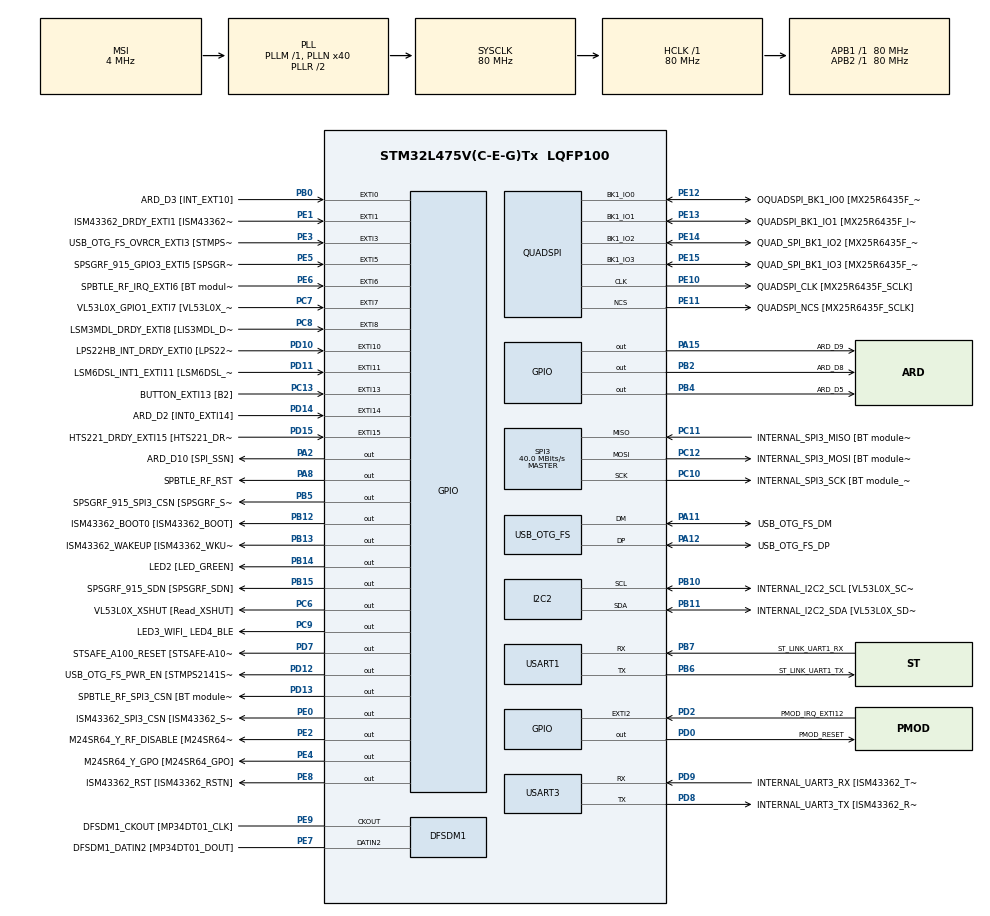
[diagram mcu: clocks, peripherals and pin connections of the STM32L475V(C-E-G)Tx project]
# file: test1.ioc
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Mcu.Family=STM32L4
Mcu.Name=STM32L475V(C-E-G)Tx
Mcu.Package=LQFP100
NVIC.EXTI15_10_IRQn=true\:0\:0\:false\:false\:true\:true\:true
NVIC.EXTI9_5_IRQn=true\:0\:0\:false\:false\:true\:true\:true
NVIC.PriorityGroup=NVIC_PRIORITYGROUP_4
PA0.GPIO_Label=ARD_D1 [UART4_TX]
PA0.Signal=UART4_TX
PA1.GPIO_Label=ARD_D0 [UART4_RX]
PA1.Signal=UART4_RX
PA10.GPIO_Label=USB_OTG_FS_ID
PA10.Signal=USB_OTG_FS_ID
PA11.GPIO_Label=USB_OTG_FS_DM
PA11.Mode=Device_Only
PA11.Signal=USB_OTG_FS_DM
PA12.GPIO_Label=USB_OTG_FS_DP
PA12.Mode=Device_Only
PA12.Signal=USB_OTG_FS_DP
PA13\ (JTMS-SWDIO).GPIO_Label=SYS_JTMS_SWDIO
PA13\ (JTMS-SWDIO).Mode=Serial_Wire
PA13\ (JTMS-SWDIO).Signal=SYS_JTMS-SWDIO
PA14\ (JTCK-SWCLK).GPIO_Label=SYS_JTCK_SWCLK
PA14\ (JTCK-SWCLK).Mode=Serial_Wire
PA14\ (JTCK-SWCLK).Signal=SYS_JTCK-SWCLK
PA15\ (JTDI).GPIO_Label=ARD_D9
PA15\ (JTDI).Signal=GPIO_Output
PA2.GPIO_Label=ARD_D10 [SPI_SSN]
PA2.Signal=GPIO_Output
PA3.GPIO_Label=ARD_D4
PA3.Signal=S_TIM2_CH4
PA4.GPIO_Label=ARD_D7
PA4.Signal=ADCx_IN9
PA5.GPIO_Label=ARD_D13 [SPI1_SCK]
PA5.Signal=SPI1_SCK
PA6.GPIO_Label=ARD_D12 [SPI1_MISO]
PA6.Signal=SPI1_MISO
PA7.GPIO_Label=ARD_D11 [SPI1_MOSI]
PA7.Signal=SPI1_MOSI
PA8.GPIO_Label=SPBTLE_RF_RST
PA8.Signal=GPIO_Output
PA9.GPIO_Label=USB_OTG_FS_VBUS [STMPS2141STR_OUT]
PA9.Signal=USB_OTG_FS_VBUS
PB0.GPIO_Label=ARD_D3 [INT_EXT10]
PB0.Signal=GPXTI0
PB1.GPIO_Label=ARD_D6 [ADC1_IN6]
PB1.Signal=ADCx_IN16
PB10.GPIO_Label=INTERNAL_I2C2_SCL [VL53L0X_SCL]
PB10.Mode=I2C
PB10.Signal=I2C2_SCL
PB11.GPIO_Label=INTERNAL_I2C2_SDA [VL53L0X_SDA]
PB11.Mode=I2C
PB11.Signal=I2C2_SDA
PB12.GPIO_Label=ISM43362_BOOT0 [ISM43362_BOOT]
PB12.Signal=GPIO_Output
PB13.GPIO_Label=ISM43362_WAKEUP [ISM43362_WKUP]
PB13.Signal=GPIO_Output
PB14.GPIO_Label=LED2 [LED_GREEN]
PB14.Signal=GPIO_Output
PB15.GPIO_Label=SPSGRF_915_SDN [SPSGRF_SDN]
PB15.Signal=GPIO_Output
PB2.GPIO_Label=ARD_D8
PB2.Signal=GPIO_Output
PB3\ (JTDO-TRACESWO).GPIO_Label=SYS_JTD0_SWO
PB3\ (JTDO-TRACESWO).Signal=SYS_JTDO-SWO
PB4\ (NJTRST).GPIO_Label=ARD_D5
PB4\ (NJTRST).Signal=GPIO_Output
PB5.GPIO_Label=SPSGRF_915_SPI3_CSN [SPSGRF_SPI_CS]
PB5.PinState=GPIO_PIN_SET
PB5.Signal=GPIO_Output
PB6.GPIO_Label=ST_LINK_UART1_TX
PB6.Mode=Asynchronous
PB6.Signal=USART1_TX
PB7.GPIO_Label=ST_LINK_UART1_RX
PB7.Mode=Asynchronous
PB7.Signal=USART1_RX
PB8.GPIO_Label=ARD_D15 [I2C1_SCL]
PB8.Signal=I2C1_SCL
PB9.GPIO_Label=ARD_D14 [I2C1_SDA]
PB9.Signal=I2C1_SDA
PC0.GPIO_Label=ARD_A5 [ADC]
PC0.Signal=ADCx_IN1
PC1.GPIO_Label=ARD_A4 [ADC]
PC1.Signal=ADCx_IN2
PC10.GPIO_Label=INTERNAL_SPI3_SCK [BT module_SPI_SCLK]
PC10.Mode=Full_Duplex_Master
PC10.Signal=SPI3_SCK
PC11.GPIO_Label=INTERNAL_SPI3_MISO [BT module_SPI_MISO]
PC11.Mode=Full_Duplex_Master
PC11.Signal=SPI3_MISO
PC12.GPIO_Label=INTERNAL_SPI3_MOSI [BT module_SPI_MOSI]
PC12.Mode=Full_Duplex_Master
PC12.Signal=SPI3_MOSI
PC13.GPIO_Label=BUTTON_EXTI13 [B2]
PC13.GPIO_ModeDefaultEXTI=GPIO_MODE_IT_FALLING
PC13.Signal=GPXTI13
PC14-OSC32_IN\ (PC14).Mode=LSE-External-Oscillator
PC14-OSC32_IN\ (PC14).Signal=RCC_OSC32_IN
PC15-OSC32_OUT\ (PC15).Mode=LSE-External-Oscillator
PC15-OSC32_OUT\ (PC15).Signal=RCC_OSC32_OUT
PC2.GPIO_Label=ARD_A3 [ADC]
PC2.Signal=ADCx_IN3
PC3.GPIO_Label=ARD_A2 [ADC]
PC3.Signal=ADCx_IN4
PC4.GPIO_Label=ARD_A1 [ADC]
PC4.Signal=ADCx_IN13
PC5.GPIO_Label=ARD_A0 [ADC]
PC5.Signal=ADCx_IN14
PC6.GPIO_Label=VL53L0X_XSHUT [Read_XSHUT]
PC6.Signal=GPIO_Output
PC7.GPIO_Label=VL53L0X_GPIO1_EXTI7 [VL53L0X_GPIO1]
PC7.Signal=GPXTI7
PC8.GPIO_Label=LSM3MDL_DRDY_EXTI8 [LIS3MDL_DRDY]
PC8.Signal=GPXTI8
PC9.GPIO_Label=LED3_WIFI_ LED4_BLE
PC9.Signal=GPIO_Output
PD0.GPIO_Label=PMOD_RESET
PD0.Signal=GPIO_Output
PD1.GPIO_Label=PMOD_SPI2_SCK
PD1.Signal=SPI2_SCK
PD10.GPIO_Label=LPS22HB_INT_DRDY_EXTI0 [LPS22HB_INT_DRDY] 
PD10.Signal=GPXTI10
PD11.GPIO_Label=LSM6DSL_INT1_EXTI11 [LSM6DSL_INT1]
PD11.Signal=GPXTI11
PD12.GPIO_Label=USB_OTG_FS_PWR_EN [STMPS2141STR_EN]
PD12.Signal=GPIO_Output
PD13.GPIO_Label=SPBTLE_RF_SPI3_CSN [BT module_SPI_CS]
PD13.PinState=GPIO_PIN_SET
PD13.Signal=GPIO_Output
PD14.GPIO_Label=ARD_D2 [INT0_EXTI14]
PD14.Signal=GPXTI14
PD15.GPIO_Label=HTS221_DRDY_EXTI15 [HTS221_DRDY]
PD15.Signal=GPXTI15
PD2.GPIO_Label=PMOD_IRQ_EXTI12
PD2.Signal=GPXTI2
PD3.GPIO_Label=PMOD_UART2_CTS
PD3.Signal=USART2_CTS
PD4.GPIO_Label=PMOD_UART2_RTS
PD4.Signal=USART2_RTS
PD5.GPIO_Label=PMOD_UART2_TX
PD5.Signal=USART2_TX
PD6.GPIO_Label=PMOD_UART2_RX
PD6.Signal=USART2_RX
PD7.GPIO_Label=STSAFE_A100_RESET [STSAFE-A100_RESET]
PD7.Signal=GPIO_Output
PD8.GPIO_Label=INTERNAL_UART3_TX [ISM43362_RX]
PD8.Mode=Asynchronous
PD8.Signal=USART3_TX
PD9.GPIO_Label=INTERNAL_UART3_RX [ISM43362_TX]
PD9.Mode=Asynchronous
PD9.Signal=USART3_RX
PE0.GPIO_Label=ISM43362_SPI3_CSN [ISM43362_SSN]
PE0.PinState=GPIO_PIN_SET
PE0.Signal=GPIO_Output
PE1.GPIO_Label=ISM43362_DRDY_EXTI1 [ISM43362_DATARDY]
PE1.Signal=GPXTI1
PE10.GPIO_Label=QUADSPI_CLK [MX25R6435F_SCLK]
PE10.Mode=Single Bank
PE10.Signal=QUADSPI_CLK
PE11.GPIO_Label=QUADSPI_NCS [MX25R6435F_SCLK]
PE11.Mode=Single Bank
PE11.Signal=QUADSPI_NCS
PE12.GPIO_Label=OQUADSPI_BK1_IO0 [MX25R6435F_IO0]
PE12.Mode=Single Bank
PE12.Signal=QUADSPI_BK1_IO0
PE13.GPIO_Label=QUADSPI_BK1_IO1 [MX25R6435F_IO1]
PE13.Mode=Single Bank
PE13.Signal=QUADSPI_BK1_IO1
PE14.GPIO_Label=QUAD_SPI_BK1_IO2 [MX25R6435F_IO2]
PE14.Mode=Single Bank
PE14.Signal=QUADSPI_BK1_IO2
PE15.GPIO_Label=QUAD_SPI_BK1_IO3 [MX25R6435F_IO3]
PE15.Mode=Single Bank
PE15.Signal=QUADSPI_BK1_IO3
PE2.GPIO_Label=M24SR64_Y_RF_DISABLE [M24SR64_RFDIS]
PE2.Signal=GPIO_Output
PE3.GPIO_Label=USB_OTG_FS_OVRCR_EXTI3 [STMPS2141STR_FAULT]
PE3.Signal=GPXTI3
PE4.GPIO_Label=M24SR64_Y_GPO [M24SR64_GPO]
PE4.Signal=GPIO_Output
PE5.GPIO_Label=SPSGRF_915_GPIO3_EXTI5 [SPSGRF_GPIO_3]
PE5.Signal=GPXTI5
PE6.GPIO_Label=SPBTLE_RF_IRQ_EXTI6 [BT module_SPI_IRQ]
PE6.Signal=GPXTI6
PE7.GPIO_Label=DFSDM1_DATIN2 [MP34DT01_DOUT]
PE7.Signal=S_DATAIN2DFSDM1
PE8.GPIO_Label=ISM43362_RST [ISM43362_RSTN]
PE8.Signal=GPIO_Output
PE9.GPIO_Label=DFSDM1_CKOUT [MP34DT01_CLK]
PE9.Signal=S_CKOUTDFSDM1
ProjectManager.HeapSize=0x200
ProjectManager.StackSize=0x400
ProjectManager.TargetToolchain=SW4STM32
RCC.ADCFreq_Value=48000000
RCC.AHBFreq_Value=80000000
RCC.APB1Freq_Value=80000000
RCC.APB1TimFreq_Value=80000000
RCC.APB2Freq_Value=80000000
RCC.APB2TimFreq_Value=80000000
RCC.CortexFreq_Value=80000000
RCC.HCLKFreq_Value=80000000
RCC.HSE_VALUE=8000000
RCC.HSI_VALUE=16000000
RCC.MSI_VALUE=4000000
RCC.PLLN=40
RCC.PLLSAI1N=24
RCC.SYSCLKFreq_VALUE=80000000
RCC.SYSCLKSource=RCC_SYSCLKSOURCE_PLLCLK
RCC.USBFreq_Value=48000000
RCC.VCOOutputFreq_Value=160000000
SH.ADCx_IN1.0=ADC1_IN1
SH.ADCx_IN13.0=ADC1_IN13
SH.ADCx_IN14.0=ADC1_IN14
SH.ADCx_IN16.0=ADC1_IN16
SH.ADCx_IN2.0=ADC1_IN2
SH.ADCx_IN3.0=ADC1_IN3
SH.ADCx_IN4.0=ADC1_IN4
SH.ADCx_IN9.0=ADC1_IN9
SH.S_CKOUTDFSDM1.0=DFSDM1_CKOUT,CKOUT
SH.S_CKOUTDFSDM1.1=DFSDM1_CKOUT,PDM_SPI_Input_from_ch12_and_Internal_Clock
SH.S_DATAIN2DFSDM1.0=DFSDM1_DATIN2,PDM_SPI_Input_from_ch12_and_Internal_Clock
SH.S_TIM2_CH4.0=TIM2_CH4
SPI3.CalculateBaudRate=40.0 MBits/s
SPI3.Direction=SPI_DIRECTION_2LINES
SPI3.Mode=SPI_MODE_MASTER
SPI3.VirtualType=VM_MASTER
USART1.VirtualMode-Asynchronous=VM_ASYNC
USART3.VirtualMode-Asynchronous=VM_ASYNC
USB_OTG_FS.VirtualMode=Device_Only
board=B-L475E-IOT01A1

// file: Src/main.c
/* USER CODE BEGIN Header */
/**
  ******************************************************************************
  * @file           : main.c
  * @brief          : Main program body
  ******************************************************************************
  * @attention
  *
  * <h2><center>&copy; Copyright (c) 2019 STMicroelectronics.

  * All rights reserved.</center></h2>
  *
  * This software component is licensed by ST under BSD 3-Clause license,
  * the "License"; You may not use this file except in compliance with the
  * License. You may obtain a copy of the License at:
  *                        opensource.org/licenses/BSD-3-Clause
  *
  ******************************************************************************
  */
/* USER CODE END Header */

#include "main.h"

/* USER CODE BEGIN Includes */
#include <stdio.h>
#include <stdlib.h>
#include "fann.h"
#include "fann_conf.h"
#include "test_data.h"
/* USER CODE END Includes */

/* USER CODE BEGIN PD */
#define NUM_REPEAT 1003
#define WARM_CACHE 3
/* USER CODE END PD */

DFSDM_Channel_HandleTypeDef hdfsdm1_channel1;

I2C_HandleTypeDef hi2c2;

QSPI_HandleTypeDef hqspi;

SPI_HandleTypeDef hspi3;

UART_HandleTypeDef huart1;
UART_HandleTypeDef huart3;

PCD_HandleTypeDef hpcd_USB_OTG_FS;

void SystemClock_Config(void);
static void MX_GPIO_Init(void);
static void MX_DFSDM1_Init(void);
static void MX_I2C2_Init(void);
static void MX_QUADSPI_Init(void);
static void MX_SPI3_Init(void);
static void MX_USART1_UART_Init(void);
static void MX_USART3_UART_Init(void);
static void MX_USB_OTG_FS_PCD_Init(void);

/* USER CODE BEGIN 0 */
/* Buffer used for transmission */
#define RXBUFFERSIZE 500
#define TXBUFFERSIZE 500
char aTxBuffer[TXBUFFERSIZE];
/* Buffer used for reception */
uint8_t aRxBuffer[RXBUFFERSIZE];

#ifdef __GNUC__
/* With GCC/RAISONANCE, small printf (option LD Linker->Libraries->Small printf
   set to 'Yes') calls __io_putchar() */
#define PUTCHAR_PROTOTYPE int __io_putchar(int ch)
#else
#define PUTCHAR_PROTOTYPE int fputc(int ch, FILE *f)
#endif /* __GNUC__ */
/* USER CODE END 0 */

int main(void)
{

  /* MCU Configuration--------------------------------------------------------*/

  /* Reset of all peripherals, Initializes the Flash interface and the Systick. */
  HAL_Init();

  /* Configure the system clock */
  SystemClock_Config();

  /* Initialize all configured peripherals */
  MX_GPIO_Init();
  MX_DFSDM1_Init();
  MX_I2C2_Init();
  MX_QUADSPI_Init();
  MX_SPI3_Init();
  MX_USART1_UART_Init();
  MX_USART3_UART_Init();
  MX_USB_OTG_FS_PCD_Init();

  /* Infinite loop */
  /* USER CODE BEGIN WHILE */
  //  while (1)
  //{
    /* USER CODE END WHILE */

    /* // To start */
    /* for (int j = 0; j < 100; j++){ */
    /*   snprintf(aTxBuffer, TXBUFFERSIZE, "Starting...\r\n"); */
    /*   if(HAL_UART_Transmit(&huart1, (uint8_t *)aTxBuffer, TXBUFFERSIZE, 5000)!= HAL_OK) { Error_Handler(); */
    /* } */

  //HAL_Delay(4000000);

    fann_type *calc_out;
    uint32_t tot_cycles = 0;
    uint32_t cycles = 0;

    int corr = 0, i;
    #ifdef NUM_REPEAT
    for (i = 0; i < NUM_REPEAT; ++i) {
    #else
    for(i = 0; i < NUM_TESTS; ++i) {
    #endif
				//enable cycle counter
				volatile uint32_t *DWT_CONTROL = (uint32_t *) 0xE0001000;
				volatile uint32_t *DWT_CYCCNT = (uint32_t *) 0xE0001004;
				volatile uint32_t *DEMCR = (uint32_t *) 0xE000EDFC;
				volatile uint32_t *LAR  = (uint32_t *) 0xE0001FB0;   // <-- added lock access register
				*DEMCR = *DEMCR | 0x01000000;     // enable trace
				*LAR = 0xC5ACCE55;                // <-- added unlock access to DWT (ITM, etc.)registers
				*DWT_CYCCNT = 0;                  // clear DWT cycle counter
				*DWT_CONTROL = *DWT_CONTROL | 1;  // enable DWT cycle counter

        #ifdef NUM_REPEAT
        calc_out = fann_run(test_data_input);
        #else
				//run NN
        calc_out = fann_run(test_data_input + NUM_INPUT * i);
        #endif
				// read cycle counter & print
				cycles = *DWT_CYCCNT;

        if (i>=WARM_CACHE) {
        tot_cycles += cycles;
        }

/*
#ifdef FIXEDFANN
				snprintf(aTxBuffer, TXBUFFERSIZE, "out class 0: %d, out class 1: %d\r\n", calc_out[0], calc_out[1]);
#else
				snprintf(aTxBuffer, TXBUFFERSIZE, "out class 0: %f, out class 1: %f\r\n", calc_out[0], calc_out[1]);
#endif
				if(HAL_UART_Transmit(&huart1, (uint8_t *)aTxBuffer, TXBUFFERSIZE, 5000)!= HAL_OK) { Error_Handler(); }
*/

        int cla = 0;
        if (calc_out[0] >= calc_out[1]) {
            cla = 0;
        } else {
            cla = 1;
        }

        if (cla == test_data_output[i]) {
            ++corr;
        }
/*
				snprintf(aTxBuffer, TXBUFFERSIZE, "class out: %d, class exp: %d\r\n",
								 cla, test_data_output[i]);
				if(HAL_UART_Transmit(&huart1, (uint8_t *)aTxBuffer, TXBUFFERSIZE, 5000)!= HAL_OK) { Error_Handler(); }
*/
    }

    #ifdef NUM_REPEAT
    snprintf(aTxBuffer, TXBUFFERSIZE, "//////////////// #### mean_cycles %d\n#### NUM_INPUT %d\n#### NUM_OUTPUT %d\n#### correct %d\n#### break\r\n", tot_cycles/(NUM_REPEAT-WARM_CACHE), NUM_INPUT, NUM_OUTPUT, corr);
    #else
    snprintf(aTxBuffer, TXBUFFERSIZE, "//////////////// #### mean_cycles %d\n#### NUM_INPUT %d\n#### NUM_OUTPUT %d\n#### correct %d\n#### break\r\n", tot_cycles/(NUM_TESTS-WARM_CACHE), NUM_INPUT, NUM_OUTPUT, corr);
    #endif
    if(HAL_UART_Transmit(&huart1, (uint8_t *)aTxBuffer, TXBUFFERSIZE, 50000)!= HAL_OK) { Error_Handler();
    }

		//snprintf(aTxBuffer, TXBUFFERSIZE, "correct %d out of %d\r\n", corr, NUM_TESTS);
		//if(HAL_UART_Transmit(&huart1, (uint8_t *)aTxBuffer, TXBUFFERSIZE, 5000)!= HAL_OK) { Error_Handler(); }
		HAL_Delay(100000);
  }
    //}

void SystemClock_Config(void)
{
  RCC_OscInitTypeDef RCC_OscInitStruct = {0};
  RCC_ClkInitTypeDef RCC_ClkInitStruct = {0};
  RCC_PeriphCLKInitTypeDef PeriphClkInit = {0};

  /** Configure LSE Drive Capability
  */
  HAL_PWR_EnableBkUpAccess();
  __HAL_RCC_LSEDRIVE_CONFIG(RCC_LSEDRIVE_LOW);
  /** Initializes the CPU, AHB and APB busses clocks
  */
  RCC_OscInitStruct.OscillatorType = RCC_OSCILLATORTYPE_LSE|RCC_OSCILLATORTYPE_MSI;
  RCC_OscInitStruct.LSEState = RCC_LSE_ON;
  RCC_OscInitStruct.MSIState = RCC_MSI_ON;
  RCC_OscInitStruct.MSICalibrationValue = 0;
  RCC_OscInitStruct.MSIClockRange = RCC_MSIRANGE_6;
  RCC_OscInitStruct.PLL.PLLState = RCC_PLL_ON;
  RCC_OscInitStruct.PLL.PLLSource = RCC_PLLSOURCE_MSI;
  RCC_OscInitStruct.PLL.PLLM = 1;
  RCC_OscInitStruct.PLL.PLLN = 40;
  RCC_OscInitStruct.PLL.PLLP = RCC_PLLP_DIV7;
  RCC_OscInitStruct.PLL.PLLQ = RCC_PLLQ_DIV2;
  RCC_OscInitStruct.PLL.PLLR = RCC_PLLR_DIV2;
  if (HAL_RCC_OscConfig(&RCC_OscInitStruct) != HAL_OK)
  {
    Error_Handler();
  }
  /** Initializes the CPU, AHB and APB busses clocks
  */
  RCC_ClkInitStruct.ClockType = RCC_CLOCKTYPE_HCLK|RCC_CLOCKTYPE_SYSCLK
                              |RCC_CLOCKTYPE_PCLK1|RCC_CLOCKTYPE_PCLK2;
  RCC_ClkInitStruct.SYSCLKSource = RCC_SYSCLKSOURCE_PLLCLK;
  RCC_ClkInitStruct.AHBCLKDivider = RCC_SYSCLK_DIV1;
  RCC_ClkInitStruct.APB1CLKDivider = RCC_HCLK_DIV1;
  RCC_ClkInitStruct.APB2CLKDivider = RCC_HCLK_DIV1;

  if (HAL_RCC_ClockConfig(&RCC_ClkInitStruct, FLASH_LATENCY_4) != HAL_OK)
  {
    Error_Handler();
  }
  PeriphClkInit.PeriphClockSelection = RCC_PERIPHCLK_USART1|RCC_PERIPHCLK_USART3
                              |RCC_PERIPHCLK_I2C2|RCC_PERIPHCLK_DFSDM1
                              |RCC_PERIPHCLK_USB;
  PeriphClkInit.Usart1ClockSelection = RCC_USART1CLKSOURCE_PCLK2;
  PeriphClkInit.Usart3ClockSelection = RCC_USART3CLKSOURCE_PCLK1;
  PeriphClkInit.I2c2ClockSelection = RCC_I2C2CLKSOURCE_PCLK1;
  PeriphClkInit.Dfsdm1ClockSelection = RCC_DFSDM1CLKSOURCE_PCLK;
  PeriphClkInit.UsbClockSelection = RCC_USBCLKSOURCE_PLLSAI1;
  PeriphClkInit.PLLSAI1.PLLSAI1Source = RCC_PLLSOURCE_MSI;
  PeriphClkInit.PLLSAI1.PLLSAI1M = 1;
  PeriphClkInit.PLLSAI1.PLLSAI1N = 24;
  PeriphClkInit.PLLSAI1.PLLSAI1P = RCC_PLLP_DIV7;
  PeriphClkInit.PLLSAI1.PLLSAI1Q = RCC_PLLQ_DIV2;
  PeriphClkInit.PLLSAI1.PLLSAI1R = RCC_PLLR_DIV2;
  PeriphClkInit.PLLSAI1.PLLSAI1ClockOut = RCC_PLLSAI1_48M2CLK;
  if (HAL_RCCEx_PeriphCLKConfig(&PeriphClkInit) != HAL_OK)
  {
    Error_Handler();
  }
  /** Configure the main internal regulator output voltage
  */
  if (HAL_PWREx_ControlVoltageScaling(PWR_REGULATOR_VOLTAGE_SCALE1) != HAL_OK)
  {
    Error_Handler();
  }
  /** Enable MSI Auto calibration
  */
  HAL_RCCEx_EnableMSIPLLMode();
}

static void MX_DFSDM1_Init(void)
{

  hdfsdm1_channel1.Instance = DFSDM1_Channel1;
  hdfsdm1_channel1.Init.OutputClock.Activation = ENABLE;
  hdfsdm1_channel1.Init.OutputClock.Selection = DFSDM_CHANNEL_OUTPUT_CLOCK_SYSTEM;
  hdfsdm1_channel1.Init.OutputClock.Divider = 2;
  hdfsdm1_channel1.Init.Input.Multiplexer = DFSDM_CHANNEL_EXTERNAL_INPUTS;
  hdfsdm1_channel1.Init.Input.DataPacking = DFSDM_CHANNEL_STANDARD_MODE;
  hdfsdm1_channel1.Init.Input.Pins = DFSDM_CHANNEL_FOLLOWING_CHANNEL_PINS;
  hdfsdm1_channel1.Init.SerialInterface.Type = DFSDM_CHANNEL_SPI_RISING;
  hdfsdm1_channel1.Init.SerialInterface.SpiClock = DFSDM_CHANNEL_SPI_CLOCK_INTERNAL;
  hdfsdm1_channel1.Init.Awd.FilterOrder = DFSDM_CHANNEL_FASTSINC_ORDER;
  hdfsdm1_channel1.Init.Awd.Oversampling = 1;
  hdfsdm1_channel1.Init.Offset = 0;
  hdfsdm1_channel1.Init.RightBitShift = 0x00;
  if (HAL_DFSDM_ChannelInit(&hdfsdm1_channel1) != HAL_OK)
  {
    Error_Handler();
  }

}

static void MX_I2C2_Init(void)
{

  hi2c2.Instance = I2C2;
  hi2c2.Init.Timing = 0x10909CEC;
  hi2c2.Init.OwnAddress1 = 0;
  hi2c2.Init.AddressingMode = I2C_ADDRESSINGMODE_7BIT;
  hi2c2.Init.DualAddressMode = I2C_DUALADDRESS_DISABLE;
  hi2c2.Init.OwnAddress2 = 0;
  hi2c2.Init.OwnAddress2Masks = I2C_OA2_NOMASK;
  hi2c2.Init.GeneralCallMode = I2C_GENERALCALL_DISABLE;
  hi2c2.Init.NoStretchMode = I2C_NOSTRETCH_DISABLE;
  if (HAL_I2C_Init(&hi2c2) != HAL_OK)
  {
    Error_Handler();
  }
  /** Configure Analogue filter
  */
  if (HAL_I2CEx_ConfigAnalogFilter(&hi2c2, I2C_ANALOGFILTER_ENABLE) != HAL_OK)
  {
    Error_Handler();
  }
  /** Configure Digital filter
  */
  if (HAL_I2CEx_ConfigDigitalFilter(&hi2c2, 0) != HAL_OK)
  {
    Error_Handler();
  }

}

static void MX_QUADSPI_Init(void)
{

  /* QUADSPI parameter configuration*/
  hqspi.Instance = QUADSPI;
  hqspi.Init.ClockPrescaler = 255;
  hqspi.Init.FifoThreshold = 1;
  hqspi.Init.SampleShifting = QSPI_SAMPLE_SHIFTING_NONE;
  hqspi.Init.FlashSize = 1;
  hqspi.Init.ChipSelectHighTime = QSPI_CS_HIGH_TIME_1_CYCLE;
  hqspi.Init.ClockMode = QSPI_CLOCK_MODE_0;
  if (HAL_QSPI_Init(&hqspi) != HAL_OK)
  {
    Error_Handler();
  }

}

static void MX_SPI3_Init(void)
{

  /* SPI3 parameter configuration*/
  hspi3.Instance = SPI3;
  hspi3.Init.Mode = SPI_MODE_MASTER;
  hspi3.Init.Direction = SPI_DIRECTION_2LINES;
  hspi3.Init.DataSize = SPI_DATASIZE_4BIT;
  hspi3.Init.CLKPolarity = SPI_POLARITY_LOW;
  hspi3.Init.CLKPhase = SPI_PHASE_1EDGE;
  hspi3.Init.NSS = SPI_NSS_SOFT;
  hspi3.Init.BaudRatePrescaler = SPI_BAUDRATEPRESCALER_2;
  hspi3.Init.FirstBit = SPI_FIRSTBIT_MSB;
  hspi3.Init.TIMode = SPI_TIMODE_DISABLE;
  hspi3.Init.CRCCalculation = SPI_CRCCALCULATION_DISABLE;
  hspi3.Init.CRCPolynomial = 7;
  hspi3.Init.CRCLength = SPI_CRC_LENGTH_DATASIZE;
  hspi3.Init.NSSPMode = SPI_NSS_PULSE_ENABLE;
  if (HAL_SPI_Init(&hspi3) != HAL_OK)
  {
    Error_Handler();
  }

}

static void MX_USART1_UART_Init(void)
{

  huart1.Instance = USART1;
  huart1.Init.BaudRate = 115200;
  huart1.Init.WordLength = UART_WORDLENGTH_8B;
  huart1.Init.StopBits = UART_STOPBITS_1;
  huart1.Init.Parity = UART_PARITY_NONE;
  huart1.Init.Mode = UART_MODE_TX_RX;
  huart1.Init.HwFlowCtl = UART_HWCONTROL_NONE;
  huart1.Init.OverSampling = UART_OVERSAMPLING_16;
  huart1.Init.OneBitSampling = UART_ONE_BIT_SAMPLE_DISABLE;
  huart1.AdvancedInit.AdvFeatureInit = UART_ADVFEATURE_NO_INIT;
  if (HAL_UART_Init(&huart1) != HAL_OK)
  {
    Error_Handler();
  }

}

static void MX_USART3_UART_Init(void)
{

  huart3.Instance = USART3;
  huart3.Init.BaudRate = 115200;
  huart3.Init.WordLength = UART_WORDLENGTH_8B;
  huart3.Init.StopBits = UART_STOPBITS_1;
  huart3.Init.Parity = UART_PARITY_NONE;
  huart3.Init.Mode = UART_MODE_TX_RX;
  huart3.Init.HwFlowCtl = UART_HWCONTROL_NONE;
  huart3.Init.OverSampling = UART_OVERSAMPLING_16;
  huart3.Init.OneBitSampling = UART_ONE_BIT_SAMPLE_DISABLE;
  huart3.AdvancedInit.AdvFeatureInit = UART_ADVFEATURE_NO_INIT;
  if (HAL_UART_Init(&huart3) != HAL_OK)
  {
    Error_Handler();
  }

}

static void MX_USB_OTG_FS_PCD_Init(void)
{

  hpcd_USB_OTG_FS.Instance = USB_OTG_FS;
  hpcd_USB_OTG_FS.Init.dev_endpoints = 6;
  hpcd_USB_OTG_FS.Init.speed = PCD_SPEED_FULL;
  hpcd_USB_OTG_FS.Init.phy_itface = PCD_PHY_EMBEDDED;
  hpcd_USB_OTG_FS.Init.Sof_enable = DISABLE;
  hpcd_USB_OTG_FS.Init.low_power_enable = DISABLE;
  hpcd_USB_OTG_FS.Init.lpm_enable = DISABLE;
  hpcd_USB_OTG_FS.Init.battery_charging_enable = DISABLE;
  hpcd_USB_OTG_FS.Init.use_dedicated_ep1 = DISABLE;
  hpcd_USB_OTG_FS.Init.vbus_sensing_enable = DISABLE;
  if (HAL_PCD_Init(&hpcd_USB_OTG_FS) != HAL_OK)
  {
    Error_Handler();
  }

}

static void MX_GPIO_Init(void)
{
  GPIO_InitTypeDef GPIO_InitStruct = {0};

  /* GPIO Ports Clock Enable */
  __HAL_RCC_GPIOE_CLK_ENABLE();
  __HAL_RCC_GPIOC_CLK_ENABLE();
  __HAL_RCC_GPIOA_CLK_ENABLE();
  __HAL_RCC_GPIOB_CLK_ENABLE();
  __HAL_RCC_GPIOD_CLK_ENABLE();

  /*Configure GPIO pin Output Level */
  HAL_GPIO_WritePin(GPIOE, M24SR64_Y_RF_DISABLE_Pin|M24SR64_Y_GPO_Pin|ISM43362_RST_Pin, GPIO_PIN_RESET);

  /*Configure GPIO pin Output Level */
  HAL_GPIO_WritePin(GPIOA, ARD_D10_Pin|SPBTLE_RF_RST_Pin|ARD_D9_Pin, GPIO_PIN_RESET);

  /*Configure GPIO pin Output Level */
  HAL_GPIO_WritePin(GPIOB, ARD_D8_Pin|ISM43362_BOOT0_Pin|ISM43362_WAKEUP_Pin|LED2_Pin
                          |SPSGRF_915_SDN_Pin|ARD_D5_Pin, GPIO_PIN_RESET);

  /*Configure GPIO pin Output Level */
  HAL_GPIO_WritePin(GPIOD, USB_OTG_FS_PWR_EN_Pin|PMOD_RESET_Pin|STSAFE_A100_RESET_Pin, GPIO_PIN_RESET);

  /*Configure GPIO pin Output Level */
  HAL_GPIO_WritePin(SPBTLE_RF_SPI3_CSN_GPIO_Port, SPBTLE_RF_SPI3_CSN_Pin, GPIO_PIN_SET);

  /*Configure GPIO pin Output Level */
  HAL_GPIO_WritePin(GPIOC, VL53L0X_XSHUT_Pin|LED3_WIFI__LED4_BLE_Pin, GPIO_PIN_RESET);

  /*Configure GPIO pin Output Level */
  HAL_GPIO_WritePin(SPSGRF_915_SPI3_CSN_GPIO_Port, SPSGRF_915_SPI3_CSN_Pin, GPIO_PIN_SET);

  /*Configure GPIO pin Output Level */
  HAL_GPIO_WritePin(ISM43362_SPI3_CSN_GPIO_Port, ISM43362_SPI3_CSN_Pin, GPIO_PIN_SET);

  /*Configure GPIO pins : M24SR64_Y_RF_DISABLE_Pin M24SR64_Y_GPO_Pin ISM43362_RST_Pin ISM43362_SPI3_CSN_Pin */
  GPIO_InitStruct.Pin = M24SR64_Y_RF_DISABLE_Pin|M24SR64_Y_GPO_Pin|ISM43362_RST_Pin|ISM43362_SPI3_CSN_Pin;
  GPIO_InitStruct.Mode = GPIO_MODE_OUTPUT_PP;
  GPIO_InitStruct.Pull = GPIO_NOPULL;
  GPIO_InitStruct.Speed = GPIO_SPEED_FREQ_LOW;
  HAL_GPIO_Init(GPIOE, &GPIO_InitStruct);

  /*Configure GPIO pins : USB_OTG_FS_OVRCR_EXTI3_Pin SPSGRF_915_GPIO3_EXTI5_Pin SPBTLE_RF_IRQ_EXTI6_Pin ISM43362_DRDY_EXTI1_Pin */
  GPIO_InitStruct.Pin = USB_OTG_FS_OVRCR_EXTI3_Pin|SPSGRF_915_GPIO3_EXTI5_Pin|SPBTLE_RF_IRQ_EXTI6_Pin|ISM43362_DRDY_EXTI1_Pin;
  GPIO_InitStruct.Mode = GPIO_MODE_IT_RISING;
  GPIO_InitStruct.Pull = GPIO_NOPULL;
  HAL_GPIO_Init(GPIOE, &GPIO_InitStruct);

  /*Configure GPIO pin : BUTTON_EXTI13_Pin */
  GPIO_InitStruct.Pin = BUTTON_EXTI13_Pin;
  GPIO_InitStruct.Mode = GPIO_MODE_IT_FALLING;
  GPIO_InitStruct.Pull = GPIO_NOPULL;
  HAL_GPIO_Init(BUTTON_EXTI13_GPIO_Port, &GPIO_InitStruct);

  /*Configure GPIO pins : ARD_A5_Pin ARD_A4_Pin ARD_A3_Pin ARD_A2_Pin
                           ARD_A1_Pin ARD_A0_Pin */
  GPIO_InitStruct.Pin = ARD_A5_Pin|ARD_A4_Pin|ARD_A3_Pin|ARD_A2_Pin
                          |ARD_A1_Pin|ARD_A0_Pin;
  GPIO_InitStruct.Mode = GPIO_MODE_ANALOG_ADC_CONTROL;
  GPIO_InitStruct.Pull = GPIO_NOPULL;
  HAL_GPIO_Init(GPIOC, &GPIO_InitStruct);

  /*Configure GPIO pins : ARD_D1_Pin ARD_D0_Pin */
  GPIO_InitStruct.Pin = ARD_D1_Pin|ARD_D0_Pin;
  GPIO_InitStruct.Mode = GPIO_MODE_AF_PP;
  GPIO_InitStruct.Pull = GPIO_NOPULL;
  GPIO_InitStruct.Speed = GPIO_SPEED_FREQ_VERY_HIGH;
  GPIO_InitStruct.Alternate = GPIO_AF8_UART4;
  HAL_GPIO_Init(GPIOA, &GPIO_InitStruct);

  /*Configure GPIO pins : ARD_D10_Pin SPBTLE_RF_RST_Pin ARD_D9_Pin */
  GPIO_InitStruct.Pin = ARD_D10_Pin|SPBTLE_RF_RST_Pin|ARD_D9_Pin;
  GPIO_InitStruct.Mode = GPIO_MODE_OUTPUT_PP;
  GPIO_InitStruct.Pull = GPIO_NOPULL;
  GPIO_InitStruct.Speed = GPIO_SPEED_FREQ_LOW;
  HAL_GPIO_Init(GPIOA, &GPIO_InitStruct);

  /*Configure GPIO pin : ARD_D4_Pin */
  GPIO_InitStruct.Pin = ARD_D4_Pin;
  GPIO_InitStruct.Mode = GPIO_MODE_AF_PP;
  GPIO_InitStruct.Pull = GPIO_NOPULL;
  GPIO_InitStruct.Speed = GPIO_SPEED_FREQ_LOW;
  GPIO_InitStruct.Alternate = GPIO_AF1_TIM2;
  HAL_GPIO_Init(ARD_D4_GPIO_Port, &GPIO_InitStruct);

  /*Configure GPIO pin : ARD_D7_Pin */
  GPIO_InitStruct.Pin = ARD_D7_Pin;
  GPIO_InitStruct.Mode = GPIO_MODE_ANALOG_ADC_CONTROL;
  GPIO_InitStruct.Pull = GPIO_NOPULL;
  HAL_GPIO_Init(ARD_D7_GPIO_Port, &GPIO_InitStruct);

  /*Configure GPIO pins : ARD_D13_Pin ARD_D12_Pin ARD_D11_Pin */
  GPIO_InitStruct.Pin = ARD_D13_Pin|ARD_D12_Pin|ARD_D11_Pin;
  GPIO_InitStruct.Mode = GPIO_MODE_AF_PP;
  GPIO_InitStruct.Pull = GPIO_NOPULL;
  GPIO_InitStruct.Speed = GPIO_SPEED_FREQ_VERY_HIGH;
  GPIO_InitStruct.Alternate = GPIO_AF5_SPI1;
  HAL_GPIO_Init(GPIOA, &GPIO_InitStruct);

  /*Configure GPIO pin : ARD_D3_Pin */
  GPIO_InitStruct.Pin = ARD_D3_Pin;
  GPIO_InitStruct.Mode = GPIO_MODE_IT_RISING;
  GPIO_InitStruct.Pull = GPIO_NOPULL;
  HAL_GPIO_Init(ARD_D3_GPIO_Port, &GPIO_InitStruct);

  /*Configure GPIO pin : ARD_D6_Pin */
  GPIO_InitStruct.Pin = ARD_D6_Pin;
  GPIO_InitStruct.Mode = GPIO_MODE_ANALOG_ADC_CONTROL;
  GPIO_InitStruct.Pull = GPIO_NOPULL;
  HAL_GPIO_Init(ARD_D6_GPIO_Port, &GPIO_InitStruct);

  /*Configure GPIO pins : ARD_D8_Pin ISM43362_BOOT0_Pin ISM43362_WAKEUP_Pin LED2_Pin
                           SPSGRF_915_SDN_Pin ARD_D5_Pin SPSGRF_915_SPI3_CSN_Pin */
  GPIO_InitStruct.Pin = ARD_D8_Pin|ISM43362_BOOT0_Pin|ISM43362_WAKEUP_Pin|LED2_Pin
                          |SPSGRF_915_SDN_Pin|ARD_D5_Pin|SPSGRF_915_SPI3_CSN_Pin;
  GPIO_InitStruct.Mode = GPIO_MODE_OUTPUT_PP;
  GPIO_InitStruct.Pull = GPIO_NOPULL;
  GPIO_InitStruct.Speed = GPIO_SPEED_FREQ_LOW;
  HAL_GPIO_Init(GPIOB, &GPIO_InitStruct);

  /*Configure GPIO pins : LPS22HB_INT_DRDY_EXTI0_Pin LSM6DSL_INT1_EXTI11_Pin ARD_D2_Pin HTS221_DRDY_EXTI15_Pin
                           PMOD_IRQ_EXTI12_Pin */
  GPIO_InitStruct.Pin = LPS22HB_INT_DRDY_EXTI0_Pin|LSM6DSL_INT1_EXTI11_Pin|ARD_D2_Pin|HTS221_DRDY_EXTI15_Pin
                          |PMOD_IRQ_EXTI12_Pin;
  GPIO_InitStruct.Mode = GPIO_MODE_IT_RISING;
  GPIO_InitStruct.Pull = GPIO_NOPULL;
  HAL_GPIO_Init(GPIOD, &GPIO_InitStruct);

  /*Configure GPIO pins : USB_OTG_FS_PWR_EN_Pin SPBTLE_RF_SPI3_CSN_Pin PMOD_RESET_Pin STSAFE_A100_RESET_Pin */
  GPIO_InitStruct.Pin = USB_OTG_FS_PWR_EN_Pin|SPBTLE_RF_SPI3_CSN_Pin|PMOD_RESET_Pin|STSAFE_A100_RESET_Pin;
  GPIO_InitStruct.Mode = GPIO_MODE_OUTPUT_PP;
  GPIO_InitStruct.Pull = GPIO_NOPULL;
  GPIO_InitStruct.Speed = GPIO_SPEED_FREQ_LOW;
  HAL_GPIO_Init(GPIOD, &GPIO_InitStruct);

  /*Configure GPIO pins : VL53L0X_XSHUT_Pin LED3_WIFI__LED4_BLE_Pin */
  GPIO_InitStruct.Pin = VL53L0X_XSHUT_Pin|LED3_WIFI__LED4_BLE_Pin;
  GPIO_InitStruct.Mode = GPIO_MODE_OUTPUT_PP;
  GPIO_InitStruct.Pull = GPIO_NOPULL;
  GPIO_InitStruct.Speed = GPIO_SPEED_FREQ_LOW;
  HAL_GPIO_Init(GPIOC, &GPIO_InitStruct);

  /*Configure GPIO pins : VL53L0X_GPIO1_EXTI7_Pin LSM3MDL_DRDY_EXTI8_Pin */
  GPIO_InitStruct.Pin = VL53L0X_GPIO1_EXTI7_Pin|LSM3MDL_DRDY_EXTI8_Pin;
  GPIO_InitStruct.Mode = GPIO_MODE_IT_RISING;
  GPIO_InitStruct.Pull = GPIO_NOPULL;
  HAL_GPIO_Init(GPIOC, &GPIO_InitStruct);

  /*Configure GPIO pin : PMOD_SPI2_SCK_Pin */
  GPIO_InitStruct.Pin = PMOD_SPI2_SCK_Pin;
  GPIO_InitStruct.Mode = GPIO_MODE_AF_PP;
  GPIO_InitStruct.Pull = GPIO_NOPULL;
  GPIO_InitStruct.Speed = GPIO_SPEED_FREQ_VERY_HIGH;
  GPIO_InitStruct.Alternate = GPIO_AF5_SPI2;
  HAL_GPIO_Init(PMOD_SPI2_SCK_GPIO_Port, &GPIO_InitStruct);

  /*Configure GPIO pins : PMOD_UART2_CTS_Pin PMOD_UART2_RTS_Pin PMOD_UART2_TX_Pin PMOD_UART2_RX_Pin */
  GPIO_InitStruct.Pin = PMOD_UART2_CTS_Pin|PMOD_UART2_RTS_Pin|PMOD_UART2_TX_Pin|PMOD_UART2_RX_Pin;
  GPIO_InitStruct.Mode = GPIO_MODE_AF_PP;
  GPIO_InitStruct.Pull = GPIO_NOPULL;
  GPIO_InitStruct.Speed = GPIO_SPEED_FREQ_VERY_HIGH;
  GPIO_InitStruct.Alternate = GPIO_AF7_USART2;
  HAL_GPIO_Init(GPIOD, &GPIO_InitStruct);

  /*Configure GPIO pins : ARD_D15_Pin ARD_D14_Pin */
  GPIO_InitStruct.Pin = ARD_D15_Pin|ARD_D14_Pin;
  GPIO_InitStruct.Mode = GPIO_MODE_AF_OD;
  GPIO_InitStruct.Pull = GPIO_PULLUP;
  GPIO_InitStruct.Speed = GPIO_SPEED_FREQ_VERY_HIGH;
  GPIO_InitStruct.Alternate = GPIO_AF4_I2C1;
  HAL_GPIO_Init(GPIOB, &GPIO_InitStruct);

  /* EXTI interrupt init*/
  HAL_NVIC_SetPriority(EXTI9_5_IRQn, 0, 0);
  HAL_NVIC_EnableIRQ(EXTI9_5_IRQn);

  HAL_NVIC_SetPriority(EXTI15_10_IRQn, 0, 0);
  HAL_NVIC_EnableIRQ(EXTI15_10_IRQn);

}

/* USER CODE BEGIN 4 *
   /**
   * @brief Retargets the C library printf function to the USART.
   * @param None
   * @retval None
   */
/* PUTCHAR_PROTOTYPE */
/* { */
/*   /\* Place your implementation of fputc here *\/ */
/*   /\* e.g. write a character to the USART2 and Loop until the end of transmission *\/ */
/*   HAL_UART_Transmit(&huart2, (uint8_t *)&ch, 1, 0xFFFF); */

/*   return ch; */
/* } */

/* /\** */
/*  * @brief Retargets the C library msg_info function to the USART. */
/*  * @param None */
/*  * @retval None */
/*  *\/ */
/* PUTCHAR_PROTOTYPE */
/* { */
/*   /\* Place your implementation of fputc here *\/ */
/*   /\* e.g. write a character to the serial port and Loop until the end of transmission *\/ */
/*   while (HAL_OK != HAL_UART_Transmit(&hDiscoUart, (uint8_t *) &ch, 1, 30000)) */
/*     { */
/*       ; */
/*     } */
/*   return ch; */
/* } */

/* USER CODE END 4 */

void Error_Handler(void)
{
}

/************************ (C) COPYRIGHT STMicroelectronics *****END OF FILE****/
